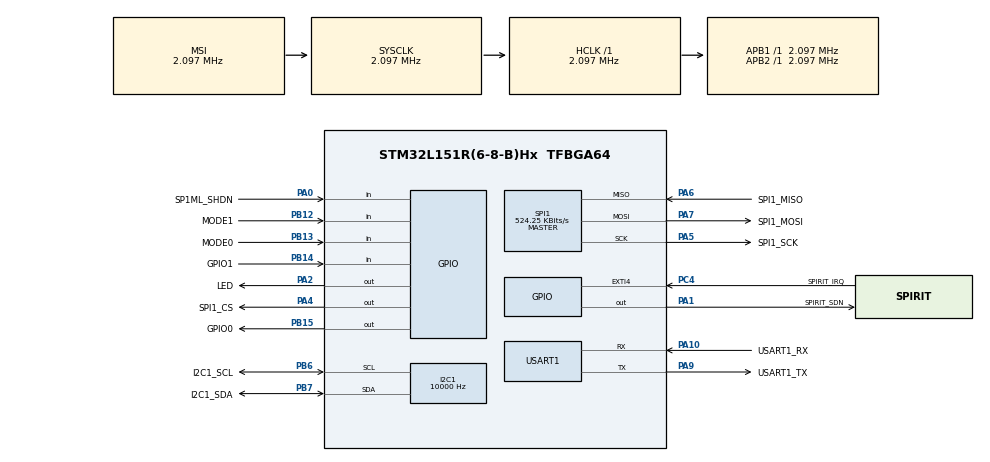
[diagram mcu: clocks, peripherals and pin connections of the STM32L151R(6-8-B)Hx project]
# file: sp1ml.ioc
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I2C1.ClockSpeed=10000
Mcu.Family=STM32L1
Mcu.Name=STM32L151R(6-8-B)Hx
Mcu.Package=TFBGA64
NVIC.PriorityGroup=NVIC_PRIORITYGROUP_4
NVIC.RTC_WKUP_IRQn=true\:0\:0\:false\:false\:true\:true
PA0-WKUP1.GPIO_Label=SP1ML_SHDN
PA0-WKUP1.GPIO_PuPd=GPIO_PULLUP
PA0-WKUP1.Signal=GPIO_Input
PA1.GPIO_Label=SPIRIT_SDN
PA1.GPIO_PuPd=GPIO_PULLUP
PA1.GPIO_Speed=GPIO_SPEED_FREQ_MEDIUM
PA1.Signal=GPIO_Output
PA10.GPIO_Label=USART1_RX
PA10.Mode=Asynchronous
PA10.Signal=USART1_RX
PA13.Mode=JTAG_5_pins
PA13.Signal=SYS_JTMS-SWDIO
PA14.Mode=JTAG_5_pins
PA14.Signal=SYS_JTCK-SWCLK
PA15.Mode=JTAG_5_pins
PA15.Signal=SYS_JTDI
PA2.GPIO_Label=LED
PA2.GPIO_ModeDefaultOutputPP=GPIO_MODE_OUTPUT_OD
PA2.PinState=GPIO_PIN_SET
PA2.Signal=GPIO_Output
PA4.GPIO_Label=SPI1_CS
PA4.GPIO_PuPd=GPIO_PULLUP
PA4.GPIO_Speed=GPIO_SPEED_FREQ_VERY_HIGH
PA4.PinState=GPIO_PIN_SET
PA4.Signal=GPIO_Output
PA5.GPIO_Label=SPI1_SCK
PA5.GPIO_PuPd=GPIO_PULLUP
PA5.Mode=Full_Duplex_Master
PA5.Signal=SPI1_SCK
PA6.GPIO_Label=SPI1_MISO
PA6.GPIO_PuPd=GPIO_PULLDOWN
PA6.Mode=Full_Duplex_Master
PA6.Signal=SPI1_MISO
PA7.GPIO_Label=SPI1_MOSI
PA7.GPIO_PuPd=GPIO_PULLDOWN
PA7.Mode=Full_Duplex_Master
PA7.Signal=SPI1_MOSI
PA9.GPIO_Label=USART1_TX
PA9.Mode=Asynchronous
PA9.Signal=USART1_TX
PB12.GPIO_Label=MODE1
PB12.Signal=GPIO_Input
PB13.GPIO_Label=MODE0
PB13.Signal=GPIO_Input
PB14.GPIO_Label=GPIO1
PB14.Signal=GPIO_Input
PB15.GPIO_Label=GPIO0
PB15.GPIO_ModeDefaultOutputPP=GPIO_MODE_OUTPUT_OD
PB15.PinState=GPIO_PIN_SET
PB15.Signal=GPIO_Output
PB3.Mode=JTAG_5_pins
PB3.Signal=SYS_JTDO-TRACESWO
PB4.Mode=JTAG_5_pins
PB4.Signal=SYS_JTRST
PB6.GPIO_Label=I2C1_SCL
PB6.Mode=I2C
PB6.Signal=I2C1_SCL
PB7.GPIO_Label=I2C1_SDA
PB7.Mode=I2C
PB7.Signal=I2C1_SDA
PC4.GPIO_Label=SPIRIT_IRQ
PC4.GPIO_ModeDefaultEXTI=GPIO_MODE_IT_FALLING
PC4.Signal=GPXTI4
ProjectManager.TargetToolchain=SW4STM32
RCC.AHBFreq_Value=2097000
RCC.APB1Freq_Value=2097000
RCC.APB2Freq_Value=2097000
RCC.HSE_VALUE=24000000
RCC.HSI_VALUE=16000000
RCC.LSE_VALUE=32768
RCC.MSI_VALUE=2097000
RCC.SYSCLKFreq_VALUE=2097000
RCC.VCOOutputFreq_Value=48000000
RTC.WakeUpClock=RTC_WAKEUPCLOCK_CK_SPRE_16BITS
RTC.WakeUpCounter=1024
SPI1.BaudRatePrescaler=SPI_BAUDRATEPRESCALER_4
SPI1.CalculateBaudRate=524.25 KBits/s
SPI1.Direction=SPI_DIRECTION_2LINES
SPI1.Mode=SPI_MODE_MASTER
SPI1.VirtualType=VM_MASTER
USART1.VirtualMode=VM_ASYNC
VP_RTC_VS_RTC_Activate.Mode=RTC_Enabled
VP_RTC_VS_RTC_Calendar.Mode=RTC_Calendar
VP_RTC_VS_RTC_WakeUp_intern.Mode=WakeUp
board=sp1ml

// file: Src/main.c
/**
  ******************************************************************************
  * File Name          : main.c
  * Description        : Main program body
  ******************************************************************************
  *
  * COPYRIGHT(c) 2016 STMicroelectronics
  *
  * Redistribution and use in source and binary forms, with or without modification,
  * are permitted provided that the following conditions are met:
  *   1. Redistributions of source code must retain the above copyright notice,
  *      this list of conditions and the following disclaimer.
  *   2. Redistributions in binary form must reproduce the above copyright notice,
  *      this list of conditions and the following disclaimer in the documentation
  *      and/or other materials provided with the distribution.
  *   3. Neither the name of STMicroelectronics nor the names of its contributors
  *      may be used to endorse or promote products derived from this software
  *      without specific prior written permission.
  *
  * THIS SOFTWARE IS PROVIDED BY THE COPYRIGHT HOLDERS AND CONTRIBUTORS "AS IS"
  * AND ANY EXPRESS OR IMPLIED WARRANTIES, INCLUDING, BUT NOT LIMITED TO, THE
  * IMPLIED WARRANTIES OF MERCHANTABILITY AND FITNESS FOR A PARTICULAR PURPOSE ARE
  * DISCLAIMED. IN NO EVENT SHALL THE COPYRIGHT HOLDER OR CONTRIBUTORS BE LIABLE
  * FOR ANY DIRECT, INDIRECT, INCIDENTAL, SPECIAL, EXEMPLARY, OR CONSEQUENTIAL
  * DAMAGES (INCLUDING, BUT NOT LIMITED TO, PROCUREMENT OF SUBSTITUTE GOODS OR
  * SERVICES; LOSS OF USE, DATA, OR PROFITS; OR BUSINESS INTERRUPTION) HOWEVER
  * CAUSED AND ON ANY THEORY OF LIABILITY, WHETHER IN CONTRACT, STRICT LIABILITY,
  * OR TORT (INCLUDING NEGLIGENCE OR OTHERWISE) ARISING IN ANY WAY OUT OF THE USE
  * OF THIS SOFTWARE, EVEN IF ADVISED OF THE POSSIBILITY OF SUCH DAMAGE.
  *
  ******************************************************************************
  */
#include "stm32l1xx_hal.h"
#include "i2c.h"
#include "rtc.h"
#include "spi.h"
#include "usart.h"
#include "gpio.h"

/* USER CODE BEGIN Includes */
#include "spirit1_appli.h"

#define TX_BUFFER_SIZE   20
#define RX_BUFFER_SIZE   96
#define RX_MODE 0
#define TX_MODE 1

/* USER CODE END Includes */

/* USER CODE BEGIN PV */
/* Private variables ---------------------------------------------------------*/
extern volatile SpiritStatus g_xStatus;

uint8_t TxLength = TX_BUFFER_SIZE;
uint8_t RxLength = 0;
uint8_t aTransmitBuffer[TX_BUFFER_SIZE] = {1,2,3,4,5,6,7,8,9,10,11,12,13,14,15,\
                                                                16,17,18,19,20};
uint8_t aReceiveBuffer[RX_BUFFER_SIZE] = {0x00};
uint8_t mode = TX_MODE;

uint8_t regs[] = {
           0x00, 0x01, 0x02, 0x03, 0x04, 0x05, 0x06, 0x07, 0x08, 0x09, 0x0a, 0x0b, 0x0c, 0x0d, 0x0e, 0x0f,
	       0x10, 0x11, 0x12, 0x13, 0x14, 0x15, 0x16, 0x17, 0x18, 0xff, 0x1a, 0x1b, 0x1c, 0x1d, 0x1e, 0x1f,
   	       0x20, 0x21, 0x22, 0x23, 0x24, 0x25, 0x26, 0x27, 0xff, 0xff, 0xff, 0xff, 0xff, 0xff, 0xff, 0xff,
   	       0x30, 0x31, 0x32, 0x33, 0x34, 0x35, 0x36, 0x37, 0x38, 0x39, 0x3a, 0x3b, 0x3c, 0x3d, 0x3e, 0x3f,
   	       0x40, 0x41, 0x42, 0x43, 0x44, 0x45, 0x46, 0x47, 0x48, 0x49, 0x4a, 0x4b, 0x4c, 0x4d, 0x4e, 0x4f,
   	       0x50, 0x51, 0x52, 0x53, 0x54, 0x55, 0x56, 0x57, 0x58, 0xff, 0xff, 0xff, 0xff, 0xff, 0xff, 0xff,
		   0xff, 0xff, 0xff, 0xff, 0x64, 0x65, 0x66, 0x67, 0x68, 0x69, 0x6a, 0x6b, 0X6c, 0x6d, 0x6e, 0x6f,
   	       0x70, 0x71, 0x72, 0x73, 0x74, 0x75, 0x76, 0x77, 0x78, 0x79, 0x7a, 0x7b, 0x7c, 0x7d, 0x7e, 0x7f,
   	       0x80, 0x81, 0x82, 0x83, 0x84, 0x85, 0x86, 0x87, 0x88, 0x89, 0x8a, 0x8b, 0x8c, 0x8d, 0x8e, 0x8f,
		   0x90, 0x91, 0x92, 0x93, 0xff, 0xff, 0xff, 0xff, 0xff, 0xff, 0xff, 0xff, 0xff, 0xff, 0x9e, 0x9f,
		   0xff, 0xa1, 0xff, 0xa3, 0xa4, 0xa5, 0xa6, 0xa7, 0xa8, 0xff, 0xff, 0xff, 0xff, 0xff, 0xff, 0xff,
		   0xff, 0xff, 0xb2, 0xff, 0xb4, 0xff, 0xff, 0xff, 0xff, 0xff, 0xff, 0xff, 0xff, 0xff, 0xff, 0xff

		};
char message[64];

/* USER CODE END PV */

void SystemClock_Config(void);

/* USER CODE BEGIN PFP */
/* Private function prototypes -----------------------------------------------*/

/* USER CODE END PFP */

/* USER CODE BEGIN 0 */

void Spirit1_Configure() {
	  HAL_Spirit1_Init();
	  P2P_Init();
	  uint8_t aux;
	  aux = 0x03;
	  SpiritSpiWriteRegisters(0x10, 1, &aux);
	  aux = 0x01;
	  SpiritSpiWriteRegisters(0x17, 1, &aux);
	  aux = 0x00;
	  SpiritSpiWriteRegisters(0x18, 1, &aux);
}

void Configure_GPIO() {
	  MX_GPIO_Init();
	  HAL_I2C_MspInit(&hi2c1);
	  HAL_SPI_MspInit(&hspi1);
	  HAL_UART_MspInit(&huart1);
}

void Enter_Low_Power(int wakeUpSecs) {

	  RadioEnterShutdown();

	  HAL_RTCEx_SetWakeUpTimer_IT(&hrtc, wakeUpSecs, RTC_WAKEUPCLOCK_CK_SPRE_16BITS);

	  SystemPower_Config();

	  MCU_Enter_StopMode();

}

void Exit_Low_Power() {
	  HAL_RTCEx_DeactivateWakeUpTimer(&hrtc);
	  Configure_GPIO();
	  RadioExitShutdown();
	  Spirit1_Configure();

}

void SystemPower_Config(void)
{
  GPIO_InitTypeDef GPIO_InitStructure = {0};

  /* Enable Ultra low power mode */
  HAL_PWREx_EnableUltraLowPower();

  /* Enable the fast wake up from Ultra low power mode */
  HAL_PWREx_EnableFastWakeUp();

  /* Enable GPIOs clock */
  __HAL_RCC_GPIOA_CLK_ENABLE();
  __HAL_RCC_GPIOB_CLK_ENABLE();
  __HAL_RCC_GPIOC_CLK_ENABLE();
  __HAL_RCC_GPIOD_CLK_ENABLE();
  __HAL_RCC_GPIOE_CLK_ENABLE();
  __HAL_RCC_GPIOH_CLK_ENABLE();

  /* Configure all GPIO port pins in Analog Input mode (floating input trigger OFF) */
  GPIO_InitStructure.Pin = GPIO_PIN_All;
  GPIO_InitStructure.Mode = GPIO_MODE_ANALOG;
  GPIO_InitStructure.Pull = GPIO_NOPULL;
  HAL_GPIO_Init(GPIOB, &GPIO_InitStructure);
  HAL_GPIO_Init(GPIOC, &GPIO_InitStructure);
  HAL_GPIO_Init(GPIOD, &GPIO_InitStructure);
  HAL_GPIO_Init(GPIOE, &GPIO_InitStructure);
  HAL_GPIO_Init(GPIOH, &GPIO_InitStructure);

  GPIO_InitStructure.Pin = GPIO_PIN_0  |                GPIO_PIN_2  | GPIO_PIN_3  |
		                   GPIO_PIN_4  | GPIO_PIN_5   | GPIO_PIN_6  | GPIO_PIN_7  |
						   GPIO_PIN_8  | GPIO_PIN_9   | GPIO_PIN_10 | GPIO_PIN_11 |
						   GPIO_PIN_12 | GPIO_PIN_13  | GPIO_PIN_14 | GPIO_PIN_15 ;
  GPIO_InitStructure.Mode = GPIO_MODE_ANALOG;
  GPIO_InitStructure.Pull = GPIO_NOPULL;
  HAL_GPIO_Init(GPIOA, &GPIO_InitStructure);

  /* Disable GPIOs clock */
  __HAL_RCC_GPIOA_CLK_DISABLE();
  __HAL_RCC_GPIOB_CLK_DISABLE();
  __HAL_RCC_GPIOC_CLK_DISABLE();
  __HAL_RCC_GPIOD_CLK_DISABLE();
  __HAL_RCC_GPIOE_CLK_DISABLE();
  __HAL_RCC_GPIOH_CLK_DISABLE();

}

void dump_regs()
{
	  /* Dump registers */
	  uint8_t val;
	  char buf[8];

	  for (int r = 0; r < 12*16; r++) {
		  if (regs[r] != 0xff) {
			  val = 0xff;
			  RadioSpiReadRegisters(regs[r], 1, &val);
			  sprintf(buf, "%02x=%02x\r\n", regs[r], val);
			  HAL_UART_Transmit(&huart1, buf, 7, 1000);
		  }
	  }

}
/* USER CODE END 0 */

int main(void)
{

  /* MCU Configuration----------------------------------------------------------*/

  /* Reset of all peripherals, Initializes the Flash interface and the Systick. */
  HAL_Init();

  /* Configure the system clock */
  SystemClock_Config();

  /* Initialize all configured peripherals */
  MX_GPIO_Init();
  MX_I2C1_Init();
  MX_RTC_Init();
  MX_SPI1_Init();
  MX_USART1_UART_Init();

  /* USER CODE BEGIN 2 */
  HAL_RTCEx_DeactivateWakeUpTimer(&hrtc);

  /* USER CODE END 2 */

  /* Infinite loop */
  /* USER CODE BEGIN WHILE */

  HAL_GPIO_WritePin(GPIO0_GPIO_Port, GPIO0_Pin, GPIO_PIN_RESET);

  uint8_t rbuf[2] = { 0xaa, 0xbb };

  HAL_StatusTypeDef res = HAL_TIMEOUT;
  uint8_t addr = 0x00;
  while ((res != HAL_OK) && (addr < 128)) {
	   res =  HAL_I2C_IsDeviceReady(&hi2c1, addr << 1, 2, 1000);
	   HAL_Delay(200);
	   addr += 1;

  }

  if ((res == HAL_OK) && (addr < 0x46))
  {
		for (int i = 0; i < 2000; i++) {
			HAL_GPIO_WritePin(GPIOA, GPIO_PIN_2, GPIO_PIN_RESET);
			HAL_Delay(50);
			HAL_GPIO_WritePin(GPIOA, GPIO_PIN_2, GPIO_PIN_SET);
			HAL_Delay(50);

		}
  }

//  res = HAL_TIMEOUT;
//  while (res != HAL_OK) {
//	  res = HAL_I2C_Mem_Read(&hi2c1, 0x80, 0x11, 1, rbuf, 1, 5000);
//	  HAL_Delay(1000);
//  }

  if (mode == TX_MODE) {
		while (1) {
			HAL_Spirit1_Init();
			for (int i = 0; i < 1; i++) {
				HAL_GPIO_WritePin(GPIOA, GPIO_PIN_2, GPIO_PIN_RESET);
				HAL_Delay(50);
				HAL_GPIO_WritePin(GPIOA, GPIO_PIN_2, GPIO_PIN_SET);
				HAL_Delay(50);

			}

			Enter_Low_Power(3);
			Exit_Low_Power();
			//dump_regs();

			AppliFrame_t txFrame;
		    txFrame.Cmd = LED_TOGGLE;
		    txFrame.CmdLen = 0x01;
		    txFrame.Cmdtag = 8;
		    txFrame.CmdType = 2;
		    txFrame.DataBuff = aTransmitBuffer;
		    txFrame.DataLen = 5;

		    AppliSendBuff(&txFrame, txFrame.DataLen);
		    HAL_UART_Transmit(&huart1, "Sent\n", 8, 1000);

  /* USER CODE END WHILE */

  /* USER CODE BEGIN 3 */

		}

  }
  else
  {
	  Spirit1_Configure();

	  while (1) {

		  uint8_t cRxlen = 0;
	      AppliReceiveBuff(aReceiveBuffer, cRxlen);

	  }
  }
  /* USER CODE END 3 */

}

/** System Clock Configuration
*/
void SystemClock_Config(void)
{

  RCC_OscInitTypeDef RCC_OscInitStruct;
  RCC_ClkInitTypeDef RCC_ClkInitStruct;
  RCC_PeriphCLKInitTypeDef PeriphClkInit;

  __PWR_CLK_ENABLE();

  __HAL_PWR_VOLTAGESCALING_CONFIG(PWR_REGULATOR_VOLTAGE_SCALE1);

  RCC_OscInitStruct.OscillatorType = RCC_OSCILLATORTYPE_LSI|RCC_OSCILLATORTYPE_MSI;
  RCC_OscInitStruct.LSIState = RCC_LSI_ON;
  RCC_OscInitStruct.MSIState = RCC_MSI_ON;
  RCC_OscInitStruct.MSICalibrationValue = 0;
  RCC_OscInitStruct.MSIClockRange = RCC_MSIRANGE_5;
  RCC_OscInitStruct.PLL.PLLState = RCC_PLL_NONE;
  HAL_RCC_OscConfig(&RCC_OscInitStruct);

  RCC_ClkInitStruct.ClockType = RCC_CLOCKTYPE_HCLK|RCC_CLOCKTYPE_SYSCLK
                              |RCC_CLOCKTYPE_PCLK1|RCC_CLOCKTYPE_PCLK2;
  RCC_ClkInitStruct.SYSCLKSource = RCC_SYSCLKSOURCE_MSI;
  RCC_ClkInitStruct.AHBCLKDivider = RCC_SYSCLK_DIV1;
  RCC_ClkInitStruct.APB1CLKDivider = RCC_HCLK_DIV1;
  RCC_ClkInitStruct.APB2CLKDivider = RCC_HCLK_DIV1;
  HAL_RCC_ClockConfig(&RCC_ClkInitStruct, FLASH_LATENCY_0);

  PeriphClkInit.PeriphClockSelection = RCC_PERIPHCLK_RTC;
  PeriphClkInit.RTCClockSelection = RCC_RTCCLKSOURCE_LSI;
  HAL_RCCEx_PeriphCLKConfig(&PeriphClkInit);

  HAL_SYSTICK_Config(HAL_RCC_GetHCLKFreq()/1000);

  HAL_SYSTICK_CLKSourceConfig(SYSTICK_CLKSOURCE_HCLK);

  /* SysTick_IRQn interrupt configuration */
  HAL_NVIC_SetPriority(SysTick_IRQn, 0, 0);
}

/************************ (C) COPYRIGHT STMicroelectronics *****END OF FILE****/
